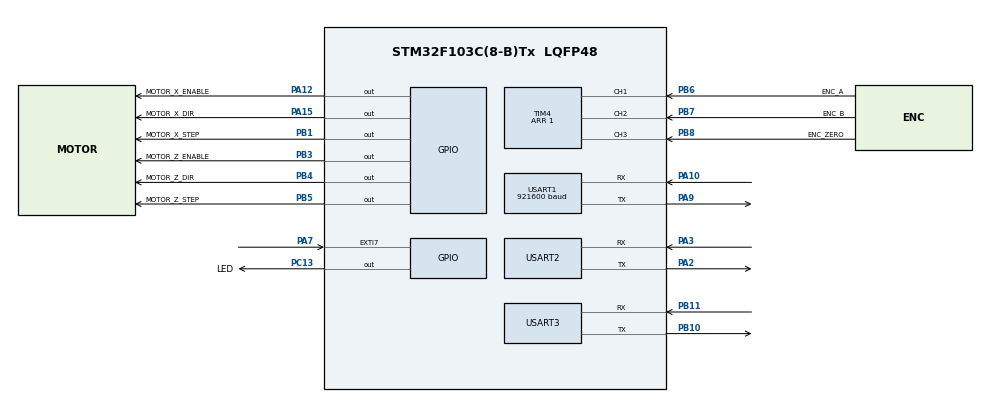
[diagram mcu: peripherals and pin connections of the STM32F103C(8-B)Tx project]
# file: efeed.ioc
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Dma.Request0=USART1_TX
Dma.USART1_TX.0.Direction=DMA_MEMORY_TO_PERIPH
Dma.USART1_TX.0.Instance=DMA1_Channel4
Dma.USART1_TX.0.MemDataAlignment=DMA_MDATAALIGN_BYTE
Dma.USART1_TX.0.MemInc=DMA_MINC_ENABLE
Dma.USART1_TX.0.Mode=DMA_NORMAL
Dma.USART1_TX.0.PeriphDataAlignment=DMA_PDATAALIGN_BYTE
Dma.USART1_TX.0.PeriphInc=DMA_PINC_DISABLE
Dma.USART1_TX.0.Priority=DMA_PRIORITY_LOW
IWDG.Prescaler=IWDG_PRESCALER_32
Mcu.Family=STM32F1
Mcu.Name=STM32F103C(8-B)Tx
Mcu.Package=LQFP48
Mcu.UserConstants=min_pulse,145*10
NVIC.DMA1_Channel4_IRQn=true\:0\:0\:false\:false\:true\:false\:true\:true
NVIC.EXTI9_5_IRQn=true\:0\:0\:false\:false\:true\:true\:true\:true
NVIC.PriorityGroup=NVIC_PRIORITYGROUP_2
NVIC.TIM1_CC_IRQn=true\:0\:0\:false\:false\:true\:true\:true\:true
NVIC.TIM1_UP_IRQn=true\:0\:0\:true\:false\:true\:true\:true\:true
NVIC.TIM2_IRQn=true\:1\:0\:true\:false\:true\:true\:true\:true
NVIC.TIM3_IRQn=true\:0\:0\:false\:false\:true\:true\:true\:true
NVIC.TIM4_IRQn=true\:0\:0\:false\:false\:true\:true\:true\:true
NVIC.USART1_IRQn=true\:0\:0\:false\:false\:true\:true\:true\:true
PA10.Mode=Asynchronous
PA10.Signal=USART1_RX
PA12.GPIO_Label=MOTOR_X_ENABLE
PA12.Signal=GPIO_Output
PA13.Mode=Serial_Wire
PA13.Signal=SYS_JTMS-SWDIO
PA14.Mode=Serial_Wire
PA14.Signal=SYS_JTCK-SWCLK
PA15.GPIO_Label=MOTOR_X_DIR
PA15.Signal=GPIO_Output
PA2.Mode=Asynchronous
PA2.Signal=USART2_TX
PA3.Mode=Asynchronous
PA3.Signal=USART2_RX
PA7.GPIO_PuPd=GPIO_PULLUP
PA7.Signal=GPXTI7
PA9.Mode=Asynchronous
PA9.Signal=USART1_TX
PB1.GPIO_Label=MOTOR_X_STEP
PB1.GPIO_PuPd=GPIO_PULLDOWN
PB1.Signal=GPIO_Output
PB10.Mode=Asynchronous
PB10.Signal=USART3_TX
PB11.Mode=Asynchronous
PB11.Signal=USART3_RX
PB3.GPIO_Label=MOTOR_Z_ENABLE
PB3.Signal=GPIO_Output
PB4.GPIO_Label=MOTOR_Z_DIR
PB4.Signal=GPIO_Output
PB5.GPIO_Label=MOTOR_Z_STEP
PB5.GPIO_PuPd=GPIO_PULLDOWN
PB5.Signal=GPIO_Output
PB6.GPIO_Label=ENC_A
PB6.GPIO_PuPd=GPIO_NOPULL
PB6.Signal=S_TIM4_CH1
PB7.GPIO_Label=ENC_B
PB7.GPIO_PuPd=GPIO_NOPULL
PB7.Signal=S_TIM4_CH2
PB8.GPIO_Label=ENC_ZERO
PB8.GPIO_PuPd=GPIO_NOPULL
PB8.Signal=S_TIM4_CH3
PC13-TAMPER-RTC.GPIO_Label=LED
PC13-TAMPER-RTC.Signal=GPIO_Output
PD0-OSC_IN.Mode=HSE-External-Oscillator
PD0-OSC_IN.Signal=RCC_OSC_IN
PD1-OSC_OUT.Mode=HSE-External-Oscillator
PD1-OSC_OUT.Signal=RCC_OSC_OUT
ProjectManager.HeapSize=0x200
ProjectManager.StackSize=0x400
ProjectManager.TargetToolchain=MDK-ARM V5
RCC.AHBFreq_Value=72000000
RCC.APB1CLKDivider=RCC_HCLK_DIV2
RCC.APB1Freq_Value=36000000
RCC.APB1TimFreq_Value=72000000
RCC.APB2Freq_Value=72000000
RCC.APB2TimFreq_Value=72000000
RCC.HCLKFreq_Value=72000000
RCC.PLLMUL=RCC_PLL_MUL9
RCC.PLLSourceVirtual=RCC_PLLSOURCE_HSE
RCC.SYSCLKFreq_VALUE=72000000
RCC.SYSCLKSource=RCC_SYSCLKSOURCE_PLLCLK
RCC.USBFreq_Value=48000000
RCC.USBPrescaler=RCC_USBCLKSOURCE_PLL_DIV1_5
SH.S_TIM4_CH1.0=TIM4_CH1,Encoder_Interface
SH.S_TIM4_CH2.0=TIM4_CH2,Encoder_Interface
SH.S_TIM4_CH3.0=TIM4_CH3,Input_Capture3_from_TI3
TIM1.Period=100
TIM1.Prescaler=0
TIM2.AutoReloadPreload=TIM_AUTORELOAD_PRELOAD_DISABLE
TIM2.Period=239
TIM2.Prescaler=0
TIM2.TIM_MasterOutputTrigger=TIM_TRGO_UPDATE
TIM2.TIM_MasterSlaveMode=TIM_MASTERSLAVEMODE_DISABLE
TIM3.AutoReloadPreload=TIM_AUTORELOAD_PRELOAD_DISABLE
TIM3.ClockDivision=TIM_CLOCKDIVISION_DIV1
TIM3.Period=100
TIM3.Prescaler=0
TIM4.Channel-Input_Capture3_from_TI3=TIM_CHANNEL_3
TIM4.CounterMode=TIM_COUNTERMODE_DOWN
TIM4.EncoderMode=TIM_ENCODERMODE_TI1
TIM4.IC1Filter=15
TIM4.IC1Polarity=TIM_ICPOLARITY_FALLING
TIM4.IC2Filter=15
TIM4.IC2Polarity=TIM_ICPOLARITY_RISING
TIM4.ICFilter_CH3=15
TIM4.ICPolarity_CH3=TIM_INPUTCHANNELPOLARITY_RISING
TIM4.Period=1
TIM4.TIM_MasterOutputTrigger=TIM_TRGO_UPDATE
TIM4.TIM_MasterSlaveMode=TIM_MASTERSLAVEMODE_ENABLE
USART1.BaudRate=921600
USART1.VirtualMode=VM_ASYNC
USART2.VirtualMode=VM_ASYNC
USART3.VirtualMode=VM_ASYNC
VP_CRC_VS_CRC.Mode=CRC_Activate
VP_IWDG_VS_IWDG.Mode=IWDG_Activate
VP_TIM1_VS_ClockSourceITR.Mode=TriggerSource_ITR1
VP_TIM1_VS_ControllerModeClock.Mode=Clock Mode
VP_TIM2_VS_ClockSourceINT.Mode=Internal
VP_TIM3_VS_ClockSourceITR.Mode=TriggerSource_ITR1
VP_TIM3_VS_ControllerModeClock.Mode=Clock Mode
board=efeed

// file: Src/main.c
/* USER CODE BEGIN Header */
/**
  ******************************************************************************
  * @file           : main.c
  * @brief          : Main program body
  ******************************************************************************
  ** This notice applies to any and all portions of this file
  * that are not between comment pairs USER CODE BEGIN and
  * USER CODE END. Other portions of this file, whether
  * inserted by the user or by software development tools
  * are owned by their respective copyright owners.
  *
  * COPYRIGHT(c) 2019 STMicroelectronics
  *
  * Redistribution and use in source and binary forms, with or without modification,
  * are permitted provided that the following conditions are met:
  *   1. Redistributions of source code must retain the above copyright notice,
  *      this list of conditions and the following disclaimer.
  *   2. Redistributions in binary form must reproduce the above copyright notice,
  *      this list of conditions and the following disclaimer in the documentation
  *      and/or other materials provided with the distribution.
  *   3. Neither the name of STMicroelectronics nor the names of its contributors
  *      may be used to endorse or promote products derived from this software
  *      without specific prior written permission.
  *
  * THIS SOFTWARE IS PROVIDED BY THE COPYRIGHT HOLDERS AND CONTRIBUTORS "AS IS"
  * AND ANY EXPRESS OR IMPLIED WARRANTIES, INCLUDING, BUT NOT LIMITED TO, THE
  * IMPLIED WARRANTIES OF MERCHANTABILITY AND FITNESS FOR A PARTICULAR PURPOSE ARE
  * DISCLAIMED. IN NO EVENT SHALL THE COPYRIGHT HOLDER OR CONTRIBUTORS BE LIABLE
  * FOR ANY DIRECT, INDIRECT, INCIDENTAL, SPECIAL, EXEMPLARY, OR CONSEQUENTIAL
  * DAMAGES (INCLUDING, BUT NOT LIMITED TO, PROCUREMENT OF SUBSTITUTE GOODS OR
  * SERVICES; LOSS OF USE, DATA, OR PROFITS; OR BUSINESS INTERRUPTION) HOWEVER
  * CAUSED AND ON ANY THEORY OF LIABILITY, WHETHER IN CONTRACT, STRICT LIABILITY,
  * OR TORT (INCLUDING NEGLIGENCE OR OTHERWISE) ARISING IN ANY WAY OUT OF THE USE
  * OF THIS SOFTWARE, EVEN IF ADVISED OF THE POSSIBILITY OF SUCH DAMAGE.
  *
  ******************************************************************************
  */
/* USER CODE END Header */
#include "main.h"

/* USER CODE BEGIN Includes */

#include "stm32f1xx_it.h"

#include "gcode.h"
#include "nuts_bolts.h"
#include "..\buildno.txt"

//#define ARM_MATH_CM3
//#include "arm_math.h"
/* USER CODE END Includes */

/* USER CODE BEGIN PV */

state_t state_hw;
state_t state_precalc;

#define jogQueue_size 50
circular_buffer jogQueue_cb;
char jogQueue[jogQueue_size];

	int debug_cmd = 0, debugnext = 0;

__IO uint8_t ubI2C_slave_addr = 0;
__IO uint8_t ubMasterRequestDirection  = 0;
char cmd1 = 0;
char cmd2 = 0;

//int count;
extern bool demo;
/*
G18 - XZ-plane
G98 - retract to the position that axis was in just before this series of one or more contiguous canned cycles was started
G50 set spindle speed
G28, G28.1 Go to Predefined Position
G54-G59.3 Select Coordinate System
G96, G97 Spindle Control Mode, G97 (RPM Mode)
*/

// ***** Stepper Motor *****

#define uartBuffer_size 400
circular_buffer uart_cb;
ubuf_t uartBuffer[uartBuffer_size];

__IO uint32_t rised = 0;
#define RX_BUFFER_SIZE   32
uint8_t aRXBufferA[RX_BUFFER_SIZE];
__IO uint8_t	uwNbReceivedChars;
__IO uint8_t	uNbReceivedCharsForUser;

__IO uint8_t initSync = 0;
uint8_t *pBufferReadyForReception;
__IO uint8_t ubUART3ReceptionComplete = 0;

__IO uint8_t ubLIMITleftZ = 0;

uint8_t ubNbDataToTransmit = 5; //sizeof(aTxBuffer);
__IO uint8_t ubTransmissionComplete = 0;
__IO uint8_t  ubMasterXferDirection     = 0;
uint8_t       aMasterReceiveBuffer[0xF] = {0};
__IO uint8_t  ubMasterNbDataToReceive   = sizeof(aMasterReceiveBuffer);

extern __IO bool xPulse;
extern __IO bool zPulse;

/* USER CODE END PV */

void SystemClock_Config(void);
static void MX_GPIO_Init(void);
static void MX_DMA_Init(void);
static void MX_TIM1_Init(void);
static void MX_TIM2_Init(void);
static void MX_TIM3_Init(void);
static void MX_TIM4_Init(void);
static void MX_CRC_Init(void);
static void MX_IWDG_Init(void);
static void MX_USART1_UART_Init(void);
static void MX_USART2_UART_Init(void);
static void MX_USART3_UART_Init(void);
/* USER CODE BEGIN PFP */

#ifndef _USEENCODER
void spindle_emulator(void);
#endif

void jog_pulse(int);
/* USER CODE END PFP */

/* USER CODE BEGIN 0 */

#define rampdown 10

bool dbg_ssh = false;

int dbg_ste = 0;
int dbg_gskip = 0;
int dbg_ss_cnt = 0;
void trim_substep_short(){
	// 1. check if there is any active task is running:
	if(state_hw.current_task_ref) {
		if(state_hw.current_task_ref->steps_to_endZ > rampdown){
			state_hw.current_task_ref->steps_to_endZ = rampdown;
		}
		if(state_hw.current_task_ref->steps_to_endX > rampdown){
			state_hw.current_task_ref->steps_to_endX = rampdown;
		}
		// reset task cb:
		cb_reset(&task_cb);
	}
}

//	cb_init_ref(&uart_cb, 10, sizeof(ubuf_t), &ut);
__STATIC_INLINE
ubuf_t * add_empty_uart(){
	cb_push_back_empty(&uart_cb);
	return uart_cb.top;
}

/**
  * @brief  Function called from USART IRQ Handler when RXNE flag is set
  *         Function is in charge of reading character received on USART RX line.
  * @param  None
  * @retval None
  */
void USART_CharReception_Callback(void)
{
  /* Read Received character. RXNE flag is cleared by reading of DR register */
	uint8_t symbol = LL_USART_ReceiveData8(USART1);
	if(symbol == '\n'){
		if(uart_cb.count<uart_cb.capacity-2) {
			aRXBufferA[uwNbReceivedChars] = 0;
			if(uwNbReceivedChars == 2 && (aRXBufferA[1] == 'w' || aRXBufferA[1] == 's') ){
				if(jogQueue_cb.capacity-2 > jogQueue_cb.count) {
					cb_push_back_unclean(&jogQueue_cb);
					char *cp = jogQueue_cb.top;
					*cp = aRXBufferA[1];
				}
			} else {
				cb_push_back_unclean(&uart_cb);
				memcpy(uart_cb.top,&aRXBufferA,uwNbReceivedChars+1);
			}
		}
    uwNbReceivedChars = 0;
	} else {
		if(symbol != 0)
			pBufferReadyForReception[uwNbReceivedChars++] = symbol;
		if(uwNbReceivedChars == RX_BUFFER_SIZE-1){
			Error_Handler2(1);
		}
	}
}

/* USER CODE END 0 */

int main(void)
{
  /* USER CODE BEGIN 1 */
//state_hw.global_Z_pos = -1;
//	ui64toa(state_hw.global_Z_pos, &str1[0]);//generte number with base 64
//	ui16toa(&state_hw.global_Z_pos,&str1[0],4);
//	strcat(str1, "test");
//	info[11] = ';';
//	aa = sizeof(G_task_t);
//	ui16toa2(&state_hw.flags, (uint8_t *)&state_hw.uart_header[3],1);

	#define LOOP_FROM 1
//#define LOOP_COUNT 2
//	#define LOOP_COUNT 4 //509//289 //158
//!!!! 	_USEENCODER define  moved to gcode.h

	#ifdef _USEENCODER
	int preload = 2;//LOOP_COUNT;
	#else
	int preload = 4;//LOOP_COUNT;
	#endif

const char * ga1[] = {
	#ifdef _USEENCODER
	"G91",
	"G94",
//	"G33 Z-10 K4.5 M3",
	"G0 X0. Z0.",
	"G0 X0. Z0.1",
	"G0 X0. Z0.1",
	"G0 X0. Z0.1",
	"G0 X0. Z0.1",
	"G1 X10 Z100 F100",
	"G94",
	"G1 Z-600 F600", //F900",
	"G0 Z200",

//	"G1 Z-2 F0.05",
	#else
	"G91",
	"G95",
//	"G76 P0.05 Z-1 I-.075 J0.008 K0.045 Q29.5 L2 E0.045",
//	"G76 P2. Z-50. I-8.209 J0.25 K2. R2. Q29.5 H0. E1. L0",

	"G0 X0. Z0.",
//	"G1 Z200 F0.1",
//	"G0 X10. Z0.",
//	"G1 X1 Z-20 F600",
	"G1 Z-200 F0.5",
	"G0 X0. Z0.",
	"G1 X10. Z-10 F600",
	"G0 X0. Z0.",
	"G1 Z-10 F600",
	"G0 X0. Z0.",
	"G1 Z-10 F600",

	"G1 Z3",
	"G1 Z-4",
	"G1 Z5",
	"G1 Z0",
	#endif
	"G1 Z2.1 F100",
	"G1 Z0 F100",
	"G0 Z0.",

	"G0 X10. Z0.",
	"G0 X9.498",
	"G33 Z-0.665 K2",
	"X10. Z-1.02 K2",
};

  /* USER CODE END 1 */

  /* MCU Configuration--------------------------------------------------------*/

  /* Reset of all peripherals, Initializes the Flash interface and the Systick. */
  LL_APB2_GRP1_EnableClock(LL_APB2_GRP1_PERIPH_AFIO);
  LL_APB1_GRP1_EnableClock(LL_APB1_GRP1_PERIPH_PWR);

  /* System interrupt init*/
  NVIC_SetPriorityGrouping(NVIC_PRIORITYGROUP_2);

  /** NOJTAG: JTAG-DP Disabled and SW-DP Enabled
  */
  LL_GPIO_AF_Remap_SWJ_NOJTAG();

  /* USER CODE BEGIN Init */
	memset(&state_hw,0,sizeof(state_hw));

	state_hw.retract = 100;

  state_hw.uart_header[0] = HEADER_0;
	state_hw.uart_header[1] =state_hw.uart_header[2] =state_hw.uart_header[3] = HEADER_1;
	state_hw.uart_end[0] = '#';
	state_hw.uart_end[1] = '#';
	state_hw.uart_end[2] = '\r';
	state_hw.uart_end[3] = '\n';
	char info[14];
//	memcpy(info,"1.80;",5);
//	state_hw.global_Z_pos = (2<<23) - 1;
	LL_DBGMCU_APB1_GRP1_FreezePeriph(LL_DBGMCU_APB1_GRP1_IWDG_STOP);
//ui64toa(state_hw.global_Z_pos,&info[0]);

	cb_init_ref(&jogQueue_cb, jogQueue_size, sizeof(char), &jogQueue);
	cb_init_ref(&uart_cb, uartBuffer_size, sizeof(char), &uartBuffer);

	cb_init_ref(&task_cb, task_size, sizeof(G_task_t), &gt);
//	cb_init_ref(&task_precalc_cb, task_precalc_size, sizeof(G_task_t), &gt_precalc);
//	cb_init_ref(&gp_cb, gp_size, sizeof(G_pipeline_t),&gp);
//	cb_init_ref(&substep_cb, substep_size, sizeof(substep_t),&substep_delay);
//	cb_init_ref(&substep_job_cb, substep_job_size, sizeof(substep_job_t),&substep_delay);

// g03
//	cb_init_ref(&sma_cb,  8, sizeof(substep_sma_ref_t), &smaNumbers);
	//cb_init_ref(&sma_substep_cb,  8, sizeof(uint32_t), &smaSubstepRefs);

// init USART
  pBufferReadyForReception = aRXBufferA;
  uwNbReceivedChars = 0;
  ubUART3ReceptionComplete = 0;

  /* USER CODE END Init */

  /* Configure the system clock */
  SystemClock_Config();

  /* USER CODE BEGIN SysInit */
	LL_SYSTICK_EnableIT();
  /* USER CODE END SysInit */

  /* Initialize all configured peripherals */
  MX_GPIO_Init();
  MX_DMA_Init();
  MX_TIM1_Init();
  MX_TIM2_Init();
  MX_TIM3_Init();
  MX_TIM4_Init();
  MX_CRC_Init();
  MX_IWDG_Init();
  MX_USART1_UART_Init();
  MX_USART2_UART_Init();
  MX_USART3_UART_Init();
  /* USER CODE BEGIN 2 */

	LL_TIM_CC_DisablePreload(TIM3);
	LL_TIM_OC_DisablePreload(TIM3, LL_TIM_CHANNEL_CH2);

	LL_TIM_EnableIT_CC1(TIM3);
//	LL_TIM_SetOnePulseMode(TIM1,LL_TIM_ONEPULSEMODE_SINGLE);

	LL_TIM_CC_EnableChannel(TIM3,LL_TIM_CHANNEL_CH2);

  /* Clear Overrun flag, in case characters have already been sent to USART */
  LL_USART_ClearFlag_ORE(USART1);

/* Enable RXNE and Error interrupts */
  LL_USART_EnableIT_RXNE(USART1);
  LL_USART_EnableIT_ERROR(USART1);
	LL_USART_ClearFlag_TC(USART1);

/* Enable DMA TX Interrupt */
  LL_USART_EnableDMAReq_TX(USART1);

	G95(&state_hw);
	switch_to_sync(&state_hw); //  set sync mode as default

// todo need refactor this code how to g-code parsing, precalculation and execution going to start and work together
	G_task_t record_task = {0};
	int32_t record_X = 0, record_Z = 0;
//	G_task_t *precalculating_task = 0;
	int command = 0;
	bool move_to_saved_pos = false;

// some init hardware state
//	state_hw.substep_pin = (unsigned int *)((PERIPH_BB_BASE + ((uint32_t)&(MOTOR_X_STEP_GPIO_Port->ODR) -PERIPH_BASE)*32 + (MOTOR_X_STEP_Pin_num*4)));
//	state_hw.substep_pulse_on = 1;
//	state_hw.substep_pulse_off = 0;
//	state_hw.substep_axis = SUBSTEP_AXIS_X;

//	state_hw.uart_header
	uint32_t bn = Build_No;
	sendDefaultResponseDMA(RESET_code,&bn);
	LL_mDelay(1);

//	sendDefaultResponseDMA('Z',&state_hw.global_Z_pos);
//	sendResponse((uint32_t)&state_hw,SYNC_BYTES);

//	sendResponse((uint32_t)aTxtest,SYNC_BYTES);
	// debug serial ping-pong
	LED_OFF();
//	for(int a = 0;a<24;a++){
//		state_hw.mid[a]='A'+a;
//	}

	sendDefaultResponseXZ(); //							sendDefaultResponseDMA('X',&state_hw.global_X_pos);
	bool skipPop = false;
	LED_OFF();
	while (1) {
		// recalc substep delays
		if(state_precalc.current_task_ref){
			// get pointer to last processed task
			if(state_precalc.current_task_ref->precalculate_callback_ref) {
				state_precalc.current_task_ref->precalculate_callback_ref(&state_precalc);
			}
		} else {
			if(state_precalc.current_task_ref == 0 && task_cb.count2 > 0){
				state_precalc.current_task_ref = cb_pop_front_ref2(&task_cb); // get ref to task to start precalculating process
				if(state_precalc.current_task_ref) {
					// init precalc:
					if(state_precalc.current_task_ref->precalculate_init_callback_ref){
						state_precalc.current_task_ref->precalculate_init_callback_ref(&state_precalc);
						if(state_precalc.current_task_ref->precalculate_callback_ref)
								state_precalc.current_task_ref->precalculate_callback_ref(&state_precalc);
						if(state_precalc.current_task_ref->flags.unlocked  == true) // precalc finished, load next task to precalc
							state_precalc.current_task_ref = 0;
					} else {
						state_precalc.current_task_ref = 0;
					}
				}
			} else
			if (state_precalc.current_task_ref ){ // buffer overflow, unlock task to process precalculated data
					state_precalc.current_task_ref->flags.unlocked = true;
			}
		}

    /* USER CODE END WHILE */

    /* USER CODE BEGIN 3 */
//		__WFI();
		load_next_task(&state_hw);
		LL_IWDG_ReloadCounter(IWDG);
		if(initSync == 1){
			initSync = 0;
			sendDefaultResponseXZ(); //					sendDefaultResponseDMA('Z',&state_hw.global_Z_pos);
		}
//		ubUART3ReceptionComplete = 1;
//		memcpy(aRXBuffer,"!test",4);

		// simple processing of A7 button trigger event from EXTI:
		if(ubLIMITleftZ == 1) {
			ubLIMITleftZ = 0;
			while(state_hw.rised!=0);
			trim_substep_short();
//			EOM(); //					sendDefaultResponseDMA('Z',&state_hw.global_Z_pos);
		}
//process commands received by uart that should be executed in parallel with G-commands(jog x)
		if(jogQueue_cb.count > 0){
		  char *next_jogcmd = cb_get_front_ref(&jogQueue_cb);
//			char cmd  = ((char * )next_jogcmd);
			switch(*next_jogcmd){
#define jogwindow 5
					case 'w': {// go forward by 1 step '!w'
						if(state_hw.current_task_ref == 0 || state_hw.current_task_ref->dx ==0){
							if(XDIR != xdir_forward){
								XDIR = xdir_forward;
								delay3us();
							}
							state_hw.global_X_pos--;
							record_X--;

							LL_GPIO_SetOutputPin(MOTOR_X_STEP_GPIO_Port,MOTOR_X_STEP_Pin);
							delay3us();
							LL_GPIO_ResetOutputPin(MOTOR_X_STEP_GPIO_Port,MOTOR_X_STEP_Pin);
							sendDefaultResponseXZ();
						} else {
							if(xPulse)
								break;
//							while(xPulse != false){
//								__NOP();
//							}

							uint32_t x_axis = fixedpt_toint(state_hw.x1616set) - 1; // x delay
							// arr = 300 is 600mm/min async
							volatile uint32_t waitw = 0;
							if(x_axis >700){
								x_axis = x_axis / 2;
								while(1){
									volatile uint32_t t1cnt = LL_TIM_GetCounter(TIM1);
									if(t1cnt > (x_axis - jogwindow) && t1cnt < ((x_axis + jogwindow))){
										break;
									}
									waitw++;
								}
//								while(LL_TIM_GetCounter(TIM1)< (x_axis - jogwindow) || LL_TIM_GetCounter(TIM1) > (x_axis+jogwindow)){
//									__NOP();
//								}

								bool restore_dir = false;
								if(XDIR != xdir_forward){
									restore_dir = true;
									XDIR = xdir_forward;
									delay3us();
								}

								state_hw.global_X_pos--;
								record_X--;
								LL_GPIO_SetOutputPin(MOTOR_X_STEP_GPIO_Port,MOTOR_X_STEP_Pin);
								delay3us();
								LL_GPIO_ResetOutputPin(MOTOR_X_STEP_GPIO_Port,MOTOR_X_STEP_Pin);
								if(restore_dir) {
									delay3us();
									XDIR = xdir_backward;
//									delay3us();
								}
							}
						}
						break;
					}

					case 's': {// go backward by 1 step '!s'
						if(state_hw.current_task_ref == 0 || state_hw.current_task_ref->dx ==0){
							if(XDIR != xdir_backward){
								XDIR = xdir_backward;
								delay3us();
							}
							state_hw.global_X_pos++;
							record_X++;
							LL_GPIO_SetOutputPin(MOTOR_X_STEP_GPIO_Port,MOTOR_X_STEP_Pin);
							delay3us();
							LL_GPIO_ResetOutputPin(MOTOR_X_STEP_GPIO_Port,MOTOR_X_STEP_Pin);
							sendDefaultResponseXZ(); //							sendDefaultResponseDMA('X',&state_hw.global_X_pos);
						} else {
//							while(xPulse != false){ // wait until pulse by timer interrupt finished
//								__NOP();
//							}
/* 1. check current movement speed(by delay between pulses). if speed is to high to insert jog pulse between them - jog step not possible.
if movement speed allow to insert jog step then start to alanyse it
2. simple way is to place jog pulse in the middle between axis main pulses
(min delay * 2 equal max speed/2  )
3. todo
what to do if main delay is too big(slow movement)? few jog pulses can be placed there
neet to check acceleration
bug when jogs too fast multiple pulses is appear in middle. need some flag for it? need to move jog pulses to another circular buffer?
*/
							uint32_t x_axis = fixedpt_toint(state_hw.x1616set) - 1; // x delay
							// arr = 300 is 600mm/min async
							if(x_axis >700){
								x_axis =  x_axis / 2;
								while(1){
									volatile uint32_t t1cnt = LL_TIM_GetCounter(TIM1);
									if(t1cnt > (x_axis - jogwindow) && t1cnt < ((x_axis + jogwindow))){
										break;
									}
//									waitw++;
								}

								bool restore_dir = false;
								if(XDIR != xdir_backward){
									restore_dir = true;
									XDIR = xdir_backward;
									delay3us();
								}

								state_hw.global_X_pos++;
								record_X++;
								LL_GPIO_SetOutputPin(MOTOR_X_STEP_GPIO_Port,MOTOR_X_STEP_Pin);
								delay3us();
								LL_GPIO_ResetOutputPin(MOTOR_X_STEP_GPIO_Port,MOTOR_X_STEP_Pin);
								if(restore_dir) {
									delay3us();
									XDIR = xdir_forward;
//									delay3us();
								}
							}
						}
						break;
					}
			}
			cb_pop_front_ref(&jogQueue_cb);
		}

		// process uart buffer(except jog x):
		if( (uart_cb.count > 0 && task_cb.count < task_cb.capacity-2) ){
		  ubuf_t *next_uartcmd = cb_get_front_ref(&uart_cb);
//			uint8_t cmd;
//			cmd  = ((uint8_t * )next_uartcmd)[0];
			cmd1 = ((uint8_t * )next_uartcmd)[1];
			cmd2 = ((uint8_t * )next_uartcmd)[2];
			ubUART3ReceptionComplete = 0;

			if(((uint8_t * )next_uartcmd)[0] == '!'){
				switch(cmd1){
					case '=':
						switch(cmd2){
							case 'X':
							  state_hw.global_X_pos = ahextoui32(&((uint8_t * )next_uartcmd)[3]);
							break;
							case 'Y':
							  state_hw.global_Z_pos = ahextoui32(&((uint8_t * )next_uartcmd)[3]);
							break;
						}
						break;
					case '1':
//						if( abs(state_hw.global_X_pos - record_X) > abs(state_hw.retract) || abs(state_hw.global_Z_pos - record_Z) > abs(state_hw.retract) ){
							if(state_hw.flags.G90G91 == G90mode){
								scheduleG00G01move3(	fixedpt_fromint2210(state_hw.initial_task_X_pos), fixedpt_fromint2210(state_hw.initial_task_Z_pos), 0,0, G00code);
							} else {
								scheduleG00G01move3(	fixedptu_fromint2210(record_X) - init_gp.X, fixedptu_fromint2210(record_Z) - init_gp.Z, 0, 0, G00code);
							}
//							move_to_saved_pos = true;
//						}
						break;
					case '2': // save last comand  '!2'
						while(state_hw.rised!=0);
						LED_ON();
//						move_to_saved_pos = false;
						// break current task, set new task length as steps_to_end-dz and save this task as new record to repeat in cycle
//						__disable_irq();
						memcpy(&record_task, state_hw.last_loaded_task_ref, task_cb.sz);

						record_task.callback_refZ = dz_callback;
						record_task.callback_refX = dx_callback;
//						if(dbg_ssh)
							trim_substep_short();
//						else
//							trim_substep();
						// due to predict where machine will end its movement currently work not good do next trick:
						//wait until active task is finished to update init_gp position with actual global_Z(X)_pos:
						while(state_hw.current_task_ref != 0){
						}

						record_X = state_hw.initial_task_X_pos;
						record_Z = state_hw.initial_task_Z_pos;

						int local_Z = fixedpt_toint2210(init_gp.Z);
						int local_X = fixedpt_toint2210(init_gp.X);

						int back_dz = record_Z - local_Z;
						int back_dx = record_X - local_X;
						record_task.dz = abs(back_dz);
						record_task.dx = abs(back_dx);
						record_task.steps_to_endX = record_task.dx;
						record_task.steps_to_endZ = record_task.dz;
//						record_task.F = state_hw.Q824set; // get from hw if it feed was changed on the fly

					// move back:
					// 1. move back 400 steps from blank(or move forward if ID)
						scheduleG00G01move3(fixedpt_fromint2210(state_hw.retract), 0, 0,0, G00code);
					// repeat same movement in back direction
						scheduleG00G01move3(fixedpt_fromint2210(back_dx), fixedpt_fromint2210(back_dz), 0,0, G00code);
          // move forward 400 steps to blank
						scheduleG00G01move3(-fixedpt_fromint2210(state_hw.retract), 0, 0,0, G00code);
//						EOM();
//						sendResponse((uint32_t)"ok\r\n",4);
						break;
					case '3': //repeat last command '!3'
						{
							cb_push_back_item(&task_cb,&record_task);
							init_gp.Z += record_task.flags.z_direction == zdir_backward ? -fixedpt_fromint2210(record_task.dz) : fixedpt_fromint2210(record_task.dz);
							init_gp.X += record_task.flags.x_direction == zdir_backward ? fixedpt_fromint2210(record_task.dx) : -fixedpt_fromint2210(record_task.dx);

							int back_dz = record_task.flags.z_direction ==zdir_forward ? -record_task.dz : record_task.dz;
							int back_dx = record_task.flags.x_direction ==xdir_forward ? record_task.dx : -record_task.dx;

							scheduleG00G01move3(fixedpt_fromint2210(state_hw.retract), 0, 0, 0,G00code);
							scheduleG00G01move3(fixedpt_fromint2210(back_dx), fixedpt_fromint2210(back_dz), 0,0, G00code);
							scheduleG00G01move3(-fixedpt_fromint2210(state_hw.retract), 0, 0,0, G00code);
						}
						break;
					case 'R': // infinite loop to reset by WD
						LL_mDelay(10000);
						break;
					case 'X': // stop current move '!X'
					case 'S': // stop current move  '!S'
						while(state_hw.rised!=0){
//							rised++;
						}
						trim_substep_short();
//						EOM();
//						sendResponse((uint32_t)"ok\r\n",4);
						break;
					case '0': { // reqest info{  '!0'
						char info[14];
//						memcpy(info,"2.10;",5); //version
						memset(info,32,5); //fill version block with spaces
						ui10toa(Build_No, (uint8_t *)&info); //copy dynamic build nubmer to info field

						ui64toa(state_hw.global_Z_pos,(uint8_t *)&info[5]);
						info[11] = ';';
						info[12] = '\r';
						info[13] = '\n';

						sendResponse((uint32_t)info, 14);
						break;
					}

					case 'v':{ // vector of carriage move, 1st argument is direction, 24 values by 15 gegree number packet to single byte, second argument is 1 byte relative speed
						uint8_t direction = *next_uartcmd[2] - '0' > 9 ? *next_uartcmd[2] - 'A' + 10 : *next_uartcmd[2] - '0';
						uint8_t speed = *next_uartcmd[3] - '0';
						if(speed>0)
							state_hw.vector = 1;
						break;
					}

					case 'B': {// left correction small(Back) '!B' todo refactor
						//switch to manual pulse generation
						uint32_t pin_dir = LL_GPIO_IsOutputPinSet(MOTOR_Z_DIR_GPIO_Port,MOTOR_Z_DIR_Pin);
						if(pin_dir != zdir_backward){ // change DIR
							LL_GPIO_TogglePin(MOTOR_Z_DIR_GPIO_Port,MOTOR_Z_DIR_Pin);
							delay3us();
						}
						LL_GPIO_SetPinMode(MOTOR_Z_STEP_GPIO_Port,MOTOR_Z_STEP_Pin,LL_GPIO_MODE_OUTPUT);
						for(int a = 0;a<20;a++){
							LL_GPIO_SetOutputPin(MOTOR_Z_STEP_GPIO_Port,MOTOR_Z_STEP_Pin);
							delay3us();
							LL_GPIO_ResetOutputPin(MOTOR_Z_STEP_GPIO_Port,MOTOR_Z_STEP_Pin);
							LL_mDelay(5);
						}
						if(pin_dir != zdir_backward){ // change DIR back
							LL_GPIO_TogglePin(MOTOR_Z_DIR_GPIO_Port,MOTOR_Z_DIR_Pin);
						}
						LL_GPIO_SetPinMode(MOTOR_Z_STEP_GPIO_Port,MOTOR_Z_STEP_Pin,LL_GPIO_MODE_ALTERNATE);
						break;
					}
					case 'F': {// right correction small '!F' todo refactor
						//switch to manual pulse generation
						uint32_t pin_dir = LL_GPIO_IsOutputPinSet(MOTOR_Z_DIR_GPIO_Port,MOTOR_Z_DIR_Pin);
						if(pin_dir != zdir_forward){ // change DIR
							LL_GPIO_TogglePin(MOTOR_Z_DIR_GPIO_Port,MOTOR_Z_DIR_Pin);
							delay3us();
						}
						LL_GPIO_SetPinMode(MOTOR_Z_STEP_GPIO_Port,MOTOR_Z_STEP_Pin,LL_GPIO_MODE_OUTPUT);
						for(int a = 0; a<20; a++){
							LL_GPIO_SetOutputPin(MOTOR_Z_STEP_GPIO_Port,MOTOR_Z_STEP_Pin);
							delay3us();
							LL_GPIO_ResetOutputPin(MOTOR_Z_STEP_GPIO_Port,MOTOR_Z_STEP_Pin);
							LL_mDelay(5);
						}
						if(pin_dir != zdir_backward){ // change DIR back
							LL_GPIO_TogglePin(MOTOR_Z_DIR_GPIO_Port,MOTOR_Z_DIR_Pin);
						}
						LL_GPIO_SetPinMode(MOTOR_Z_STEP_GPIO_Port,MOTOR_Z_STEP_Pin,LL_GPIO_MODE_ALTERNATE);
						break;
					}
					case 'a': {// left small '!a'
						scheduleG00G01move3(0, -jog_Z_01_2210, 0,0, G00code);
						break;
					}
					case 'd': {// right small '!d'
						scheduleG00G01move3(0, jog_Z_01_2210, 0,0, G00code);
						break;
					}

					case 'g':{ //decrease feed speed on the fly, resolution 0.1mm (0.1*1000=100)
						int32_t ff = feed_on_the_fly_factor / state_hw.z1616set - 100;
						if(ff < 100) // limit min FOTF by 0.1mm/rev
							ff = 100;
						record_task.Fz = state_hw.z1616set = feed_on_the_fly_factor / ff;
						sendDefaultResponseDMA(FEED_code,&state_hw.z1616set);
						break;
					}
					case 't': { //increase feed speed on the fly
						// 1474560 = 65536*encoder_resolution*z_screw_pitch/z_steps_unit = 3600*0,00625*65536 and * 1000 to get integer math
						int32_t ff = feed_on_the_fly_factor / state_hw.z1616set + 100;
						if(ff > 3000) // limit max FOTF by 3mm/rev
							ff = 3000;
						record_task.Fz = state_hw.z1616set = feed_on_the_fly_factor / ff;
						sendDefaultResponseDMA(FEED_code,&state_hw.z1616set);
						break;
					}

					case 'I': // set ID
//						state_hw.ODID = 1;
						state_hw.flags.ODID = IDmode;
						state_hw.retract = -100;
						break;
					case 'O': // set OD
//						state_hw.ODID = 0;
						state_hw.flags.ODID = ODmode;
						state_hw.retract = 100;
						break;
				}
				//

			}  else { // if its not cmd started by
				command_parser(*next_uartcmd);
			}
//			if(!skipPop)
			cb_pop_front_ref(&uart_cb);
//		else
//				skipPop = false;
		}
		// process preload buffer:
		if(preload > 0) {
//			if(task_cb.count2 < (task_cb.capacity - 1)) {
				if(task_cb.count < (task_cb.capacity - 2) &&  preload-- >= 0){
//					if(!LL_USART_IsActiveFlag_TC(USART1))
					command_parser((char *)ga1[command++]);
				}
			}

	}
  /* USER CODE END 3 */
}

void SystemClock_Config(void)
{
  LL_FLASH_SetLatency(LL_FLASH_LATENCY_2);
  while(LL_FLASH_GetLatency()!= LL_FLASH_LATENCY_2)
  {
  }
  LL_RCC_HSE_Enable();

   /* Wait till HSE is ready */
  while(LL_RCC_HSE_IsReady() != 1)
  {

  }
  LL_RCC_LSI_Enable();

   /* Wait till LSI is ready */
  while(LL_RCC_LSI_IsReady() != 1)
  {

  }
  LL_RCC_PLL_ConfigDomain_SYS(LL_RCC_PLLSOURCE_HSE_DIV_1, LL_RCC_PLL_MUL_9);
  LL_RCC_PLL_Enable();

   /* Wait till PLL is ready */
  while(LL_RCC_PLL_IsReady() != 1)
  {

  }
  LL_RCC_SetAHBPrescaler(LL_RCC_SYSCLK_DIV_1);
  LL_RCC_SetAPB1Prescaler(LL_RCC_APB1_DIV_2);
  LL_RCC_SetAPB2Prescaler(LL_RCC_APB2_DIV_1);
  LL_RCC_SetSysClkSource(LL_RCC_SYS_CLKSOURCE_PLL);

   /* Wait till System clock is ready */
  while(LL_RCC_GetSysClkSource() != LL_RCC_SYS_CLKSOURCE_STATUS_PLL)
  {

  }
  LL_Init1msTick(72000000);
  LL_SetSystemCoreClock(72000000);
}

static void MX_CRC_Init(void)
{

  /* Peripheral clock enable */
  LL_AHB1_GRP1_EnableClock(LL_AHB1_GRP1_PERIPH_CRC);

}

static void MX_IWDG_Init(void)
{

  /* USER CODE BEGIN IWDG_Init 0 */
	#ifndef _USEENCODER

	return;
	#endif
	return;
  /* USER CODE END IWDG_Init 0 */

  LL_IWDG_Enable(IWDG);
  LL_IWDG_EnableWriteAccess(IWDG);
  LL_IWDG_SetPrescaler(IWDG, LL_IWDG_PRESCALER_32);
  LL_IWDG_SetReloadCounter(IWDG, 4095);
  while (LL_IWDG_IsReady(IWDG) != 1)
  {
  }

  LL_IWDG_ReloadCounter(IWDG);

}

static void MX_TIM1_Init(void)
{

  LL_TIM_InitTypeDef TIM_InitStruct = {0};

  /* Peripheral clock enable */
  LL_APB2_GRP1_EnableClock(LL_APB2_GRP1_PERIPH_TIM1);

  /* TIM1 interrupt Init */
  NVIC_SetPriority(TIM1_UP_IRQn, NVIC_EncodePriority(NVIC_GetPriorityGrouping(),0, 0));
  NVIC_EnableIRQ(TIM1_UP_IRQn);
  NVIC_SetPriority(TIM1_CC_IRQn, NVIC_EncodePriority(NVIC_GetPriorityGrouping(),0, 0));
  NVIC_EnableIRQ(TIM1_CC_IRQn);

  TIM_InitStruct.Prescaler = 0;
  TIM_InitStruct.CounterMode = LL_TIM_COUNTERMODE_UP;
  TIM_InitStruct.Autoreload = 100;
  TIM_InitStruct.ClockDivision = LL_TIM_CLOCKDIVISION_DIV1;
  TIM_InitStruct.RepetitionCounter = 0;
  LL_TIM_Init(TIM1, &TIM_InitStruct);
  LL_TIM_DisableARRPreload(TIM1);
  LL_TIM_SetTriggerInput(TIM1, LL_TIM_TS_ITR1);
  LL_TIM_SetClockSource(TIM1, LL_TIM_CLOCKSOURCE_EXT_MODE1);
  LL_TIM_DisableIT_TRIG(TIM1);
  LL_TIM_DisableDMAReq_TRIG(TIM1);
  LL_TIM_SetTriggerOutput(TIM1, LL_TIM_TRGO_RESET);
  LL_TIM_DisableMasterSlaveMode(TIM1);

}

static void MX_TIM2_Init(void)
{

  LL_TIM_InitTypeDef TIM_InitStruct = {0};

  /* Peripheral clock enable */
  LL_APB1_GRP1_EnableClock(LL_APB1_GRP1_PERIPH_TIM2);

  /* TIM2 interrupt Init */
  NVIC_SetPriority(TIM2_IRQn, NVIC_EncodePriority(NVIC_GetPriorityGrouping(),1, 0));
  NVIC_EnableIRQ(TIM2_IRQn);

  TIM_InitStruct.Prescaler = 0;
  TIM_InitStruct.CounterMode = LL_TIM_COUNTERMODE_UP;
  TIM_InitStruct.Autoreload = 239;
  TIM_InitStruct.ClockDivision = LL_TIM_CLOCKDIVISION_DIV1;
  LL_TIM_Init(TIM2, &TIM_InitStruct);
  LL_TIM_DisableARRPreload(TIM2);
  LL_TIM_SetClockSource(TIM2, LL_TIM_CLOCKSOURCE_INTERNAL);
  LL_TIM_SetTriggerOutput(TIM2, LL_TIM_TRGO_UPDATE);
  LL_TIM_DisableMasterSlaveMode(TIM2);

}

static void MX_TIM3_Init(void)
{

  LL_TIM_InitTypeDef TIM_InitStruct = {0};

  /* Peripheral clock enable */
  LL_APB1_GRP1_EnableClock(LL_APB1_GRP1_PERIPH_TIM3);

  /* TIM3 interrupt Init */
  NVIC_SetPriority(TIM3_IRQn, NVIC_EncodePriority(NVIC_GetPriorityGrouping(),0, 0));
  NVIC_EnableIRQ(TIM3_IRQn);

  /* USER CODE BEGIN TIM3_Init 1 */
  NVIC_SetPriority(TIM3_IRQn, NVIC_EncodePriority(NVIC_GetPriorityGrouping(),1, 0));
  NVIC_EnableIRQ(TIM3_IRQn);

  /* USER CODE END TIM3_Init 1 */
  TIM_InitStruct.Prescaler = 0;
  TIM_InitStruct.CounterMode = LL_TIM_COUNTERMODE_UP;
  TIM_InitStruct.Autoreload = 100;
  TIM_InitStruct.ClockDivision = LL_TIM_CLOCKDIVISION_DIV1;
  LL_TIM_Init(TIM3, &TIM_InitStruct);
  LL_TIM_DisableARRPreload(TIM3);
  LL_TIM_SetTriggerInput(TIM3, LL_TIM_TS_ITR1);
  LL_TIM_SetClockSource(TIM3, LL_TIM_CLOCKSOURCE_EXT_MODE1);
  LL_TIM_DisableIT_TRIG(TIM3);
  LL_TIM_DisableDMAReq_TRIG(TIM3);
  LL_TIM_SetTriggerOutput(TIM3, LL_TIM_TRGO_RESET);
  LL_TIM_DisableMasterSlaveMode(TIM3);
  /* USER CODE BEGIN TIM3_Init 2 */

//	LL_TIM_DisableIT_UPDATE(TIM3);
//	LL_TIM_GenerateEvent_UPDATE(TIM3);
//	LL_TIM_ClearFlag_UPDATE(TIM3);
//	LL_TIM_EnableIT_UPDATE(TIM3); // */

//	MOTOR_X_AllowPulse();
//	MOTOR_Z_AllowPulse();

//	LL_GPIO_SetOutputPin(MOTOR_Z_STEP_GPIO_Port,MOTOR_Z_STEP_Pin);

/*
// prevent to put TIM3 stepper chanels high on set corresponding CCER-CCxE bit.
// without this code channel is enabled on set CCER-CCxE ignoring shadow register, thats strange...
	LL_TIM_DisableIT_UPDATE(TIM3);
	LL_TIM_GenerateEvent_UPDATE(TIM3);
	LL_TIM_ClearFlag_UPDATE(TIM3);
	LL_TIM_EnableIT_UPDATE(TIM3); // */

//	TIM3->CCMR1 = 0x48;

  /* USER CODE END TIM3_Init 2 */

}

static void MX_TIM4_Init(void)
{

  /* USER CODE BEGIN TIM4_Init 0 */

	#ifndef _USEENCODER
	spindle_emulator();
	return;
#endif

  /* USER CODE END TIM4_Init 0 */

  LL_TIM_InitTypeDef TIM_InitStruct = {0};

  LL_GPIO_InitTypeDef GPIO_InitStruct = {0};

  /* Peripheral clock enable */
  LL_APB1_GRP1_EnableClock(LL_APB1_GRP1_PERIPH_TIM4);

  LL_APB2_GRP1_EnableClock(LL_APB2_GRP1_PERIPH_GPIOB);
  /**TIM4 GPIO Configuration
  PB6   ------> TIM4_CH1
  PB7   ------> TIM4_CH2
  PB8   ------> TIM4_CH3
  */
  GPIO_InitStruct.Pin = ENC_A_Pin|ENC_B_Pin|ENC_ZERO_Pin;
  GPIO_InitStruct.Mode = LL_GPIO_MODE_FLOATING;
  LL_GPIO_Init(GPIOB, &GPIO_InitStruct);

  /* TIM4 interrupt Init */
  NVIC_SetPriority(TIM4_IRQn, NVIC_EncodePriority(NVIC_GetPriorityGrouping(),0, 0));
  NVIC_EnableIRQ(TIM4_IRQn);

  TIM_InitStruct.Prescaler = 0;
  TIM_InitStruct.CounterMode = LL_TIM_COUNTERMODE_DOWN;
  TIM_InitStruct.Autoreload = 1;
  TIM_InitStruct.ClockDivision = LL_TIM_CLOCKDIVISION_DIV1;
  LL_TIM_Init(TIM4, &TIM_InitStruct);
  LL_TIM_DisableARRPreload(TIM4);
  LL_TIM_SetEncoderMode(TIM4, LL_TIM_ENCODERMODE_X4_TI12);
  LL_TIM_IC_SetActiveInput(TIM4, LL_TIM_CHANNEL_CH1, LL_TIM_ACTIVEINPUT_DIRECTTI);
  LL_TIM_IC_SetPrescaler(TIM4, LL_TIM_CHANNEL_CH1, LL_TIM_ICPSC_DIV1);
  LL_TIM_IC_SetFilter(TIM4, LL_TIM_CHANNEL_CH1, LL_TIM_IC_FILTER_FDIV32_N8);
  LL_TIM_IC_SetPolarity(TIM4, LL_TIM_CHANNEL_CH1, LL_TIM_IC_POLARITY_RISING);
  LL_TIM_IC_SetActiveInput(TIM4, LL_TIM_CHANNEL_CH2, LL_TIM_ACTIVEINPUT_DIRECTTI);
  LL_TIM_IC_SetPrescaler(TIM4, LL_TIM_CHANNEL_CH2, LL_TIM_ICPSC_DIV1);
  LL_TIM_IC_SetFilter(TIM4, LL_TIM_CHANNEL_CH2, LL_TIM_IC_FILTER_FDIV32_N8);
  LL_TIM_IC_SetPolarity(TIM4, LL_TIM_CHANNEL_CH2, LL_TIM_IC_POLARITY_RISING);
  LL_TIM_SetTriggerOutput(TIM4, LL_TIM_TRGO_UPDATE);
  LL_TIM_EnableMasterSlaveMode(TIM4);
  LL_TIM_IC_SetActiveInput(TIM4, LL_TIM_CHANNEL_CH3, LL_TIM_ACTIVEINPUT_DIRECTTI);
  LL_TIM_IC_SetPrescaler(TIM4, LL_TIM_CHANNEL_CH3, LL_TIM_ICPSC_DIV1);
  LL_TIM_IC_SetFilter(TIM4, LL_TIM_CHANNEL_CH3, LL_TIM_IC_FILTER_FDIV32_N8);
  LL_TIM_IC_SetPolarity(TIM4, LL_TIM_CHANNEL_CH3, LL_TIM_IC_POLARITY_RISING);

}

static void MX_USART1_UART_Init(void)
{

  LL_USART_InitTypeDef USART_InitStruct = {0};

  LL_GPIO_InitTypeDef GPIO_InitStruct = {0};

  /* Peripheral clock enable */
  LL_APB2_GRP1_EnableClock(LL_APB2_GRP1_PERIPH_USART1);

  LL_APB2_GRP1_EnableClock(LL_APB2_GRP1_PERIPH_GPIOA);
  /**USART1 GPIO Configuration
  PA9   ------> USART1_TX
  PA10   ------> USART1_RX
  */
  GPIO_InitStruct.Pin = LL_GPIO_PIN_9;
  GPIO_InitStruct.Mode = LL_GPIO_MODE_ALTERNATE;
  GPIO_InitStruct.Speed = LL_GPIO_SPEED_FREQ_HIGH;
  GPIO_InitStruct.OutputType = LL_GPIO_OUTPUT_PUSHPULL;
  LL_GPIO_Init(GPIOA, &GPIO_InitStruct);

  GPIO_InitStruct.Pin = LL_GPIO_PIN_10;
  GPIO_InitStruct.Mode = LL_GPIO_MODE_FLOATING;
  LL_GPIO_Init(GPIOA, &GPIO_InitStruct);

  /* USART1 DMA Init */

  /* USART1_TX Init */
  LL_DMA_SetDataTransferDirection(DMA1, LL_DMA_CHANNEL_4, LL_DMA_DIRECTION_MEMORY_TO_PERIPH);

  LL_DMA_SetChannelPriorityLevel(DMA1, LL_DMA_CHANNEL_4, LL_DMA_PRIORITY_LOW);

  LL_DMA_SetMode(DMA1, LL_DMA_CHANNEL_4, LL_DMA_MODE_NORMAL);

  LL_DMA_SetPeriphIncMode(DMA1, LL_DMA_CHANNEL_4, LL_DMA_PERIPH_NOINCREMENT);

  LL_DMA_SetMemoryIncMode(DMA1, LL_DMA_CHANNEL_4, LL_DMA_MEMORY_INCREMENT);

  LL_DMA_SetPeriphSize(DMA1, LL_DMA_CHANNEL_4, LL_DMA_PDATAALIGN_BYTE);

  LL_DMA_SetMemorySize(DMA1, LL_DMA_CHANNEL_4, LL_DMA_MDATAALIGN_BYTE);

  /* USART1 interrupt Init */
  NVIC_SetPriority(USART1_IRQn, NVIC_EncodePriority(NVIC_GetPriorityGrouping(),0, 0));
  NVIC_EnableIRQ(USART1_IRQn);

  USART_InitStruct.BaudRate = 921600;
  USART_InitStruct.DataWidth = LL_USART_DATAWIDTH_8B;
  USART_InitStruct.StopBits = LL_USART_STOPBITS_1;
  USART_InitStruct.Parity = LL_USART_PARITY_NONE;
  USART_InitStruct.TransferDirection = LL_USART_DIRECTION_TX_RX;
  USART_InitStruct.HardwareFlowControl = LL_USART_HWCONTROL_NONE;
  USART_InitStruct.OverSampling = LL_USART_OVERSAMPLING_16;
  LL_USART_Init(USART1, &USART_InitStruct);
  LL_USART_ConfigAsyncMode(USART1);
  LL_USART_Enable(USART1);

}

static void MX_USART2_UART_Init(void)
{

  LL_USART_InitTypeDef USART_InitStruct = {0};

  LL_GPIO_InitTypeDef GPIO_InitStruct = {0};

  /* Peripheral clock enable */
  LL_APB1_GRP1_EnableClock(LL_APB1_GRP1_PERIPH_USART2);

  LL_APB2_GRP1_EnableClock(LL_APB2_GRP1_PERIPH_GPIOA);
  /**USART2 GPIO Configuration
  PA2   ------> USART2_TX
  PA3   ------> USART2_RX
  */
  GPIO_InitStruct.Pin = LL_GPIO_PIN_2;
  GPIO_InitStruct.Mode = LL_GPIO_MODE_ALTERNATE;
  GPIO_InitStruct.Speed = LL_GPIO_SPEED_FREQ_HIGH;
  GPIO_InitStruct.OutputType = LL_GPIO_OUTPUT_PUSHPULL;
  LL_GPIO_Init(GPIOA, &GPIO_InitStruct);

  GPIO_InitStruct.Pin = LL_GPIO_PIN_3;
  GPIO_InitStruct.Mode = LL_GPIO_MODE_FLOATING;
  LL_GPIO_Init(GPIOA, &GPIO_InitStruct);

  USART_InitStruct.BaudRate = 115200;
  USART_InitStruct.DataWidth = LL_USART_DATAWIDTH_8B;
  USART_InitStruct.StopBits = LL_USART_STOPBITS_1;
  USART_InitStruct.Parity = LL_USART_PARITY_NONE;
  USART_InitStruct.TransferDirection = LL_USART_DIRECTION_TX_RX;
  USART_InitStruct.HardwareFlowControl = LL_USART_HWCONTROL_NONE;
  USART_InitStruct.OverSampling = LL_USART_OVERSAMPLING_16;
  LL_USART_Init(USART2, &USART_InitStruct);
  LL_USART_ConfigAsyncMode(USART2);
  LL_USART_Enable(USART2);

}

static void MX_USART3_UART_Init(void)
{

  LL_USART_InitTypeDef USART_InitStruct = {0};

  LL_GPIO_InitTypeDef GPIO_InitStruct = {0};

  /* Peripheral clock enable */
  LL_APB1_GRP1_EnableClock(LL_APB1_GRP1_PERIPH_USART3);

  LL_APB2_GRP1_EnableClock(LL_APB2_GRP1_PERIPH_GPIOB);
  /**USART3 GPIO Configuration
  PB10   ------> USART3_TX
  PB11   ------> USART3_RX
  */
  GPIO_InitStruct.Pin = LL_GPIO_PIN_10;
  GPIO_InitStruct.Mode = LL_GPIO_MODE_ALTERNATE;
  GPIO_InitStruct.Speed = LL_GPIO_SPEED_FREQ_HIGH;
  GPIO_InitStruct.OutputType = LL_GPIO_OUTPUT_PUSHPULL;
  LL_GPIO_Init(GPIOB, &GPIO_InitStruct);

  GPIO_InitStruct.Pin = LL_GPIO_PIN_11;
  GPIO_InitStruct.Mode = LL_GPIO_MODE_FLOATING;
  LL_GPIO_Init(GPIOB, &GPIO_InitStruct);

  USART_InitStruct.BaudRate = 115200;
  USART_InitStruct.DataWidth = LL_USART_DATAWIDTH_8B;
  USART_InitStruct.StopBits = LL_USART_STOPBITS_1;
  USART_InitStruct.Parity = LL_USART_PARITY_NONE;
  USART_InitStruct.TransferDirection = LL_USART_DIRECTION_TX_RX;
  USART_InitStruct.HardwareFlowControl = LL_USART_HWCONTROL_NONE;
  USART_InitStruct.OverSampling = LL_USART_OVERSAMPLING_16;
  LL_USART_Init(USART3, &USART_InitStruct);
  LL_USART_ConfigAsyncMode(USART3);
  LL_USART_Enable(USART3);

}

static void MX_DMA_Init(void)
{

  /* Init with LL driver */
  /* DMA controller clock enable */
  LL_AHB1_GRP1_EnableClock(LL_AHB1_GRP1_PERIPH_DMA1);

  /* DMA interrupt init */
  /* DMA1_Channel4_IRQn interrupt configuration */
  NVIC_SetPriority(DMA1_Channel4_IRQn, NVIC_EncodePriority(NVIC_GetPriorityGrouping(),0, 0));
  NVIC_EnableIRQ(DMA1_Channel4_IRQn);

}

static void MX_GPIO_Init(void)
{
  LL_EXTI_InitTypeDef EXTI_InitStruct = {0};
  LL_GPIO_InitTypeDef GPIO_InitStruct = {0};

  /* GPIO Ports Clock Enable */
  LL_APB2_GRP1_EnableClock(LL_APB2_GRP1_PERIPH_GPIOC);
  LL_APB2_GRP1_EnableClock(LL_APB2_GRP1_PERIPH_GPIOD);
  LL_APB2_GRP1_EnableClock(LL_APB2_GRP1_PERIPH_GPIOA);
  LL_APB2_GRP1_EnableClock(LL_APB2_GRP1_PERIPH_GPIOB);

  /**/
  LL_GPIO_ResetOutputPin(LED_GPIO_Port, LED_Pin);

  /**/
  LL_GPIO_ResetOutputPin(GPIOB, MOTOR_X_STEP_Pin|MOTOR_Z_ENABLE_Pin|MOTOR_Z_DIR_Pin|MOTOR_Z_STEP_Pin);

  /**/
  LL_GPIO_ResetOutputPin(GPIOA, MOTOR_X_ENABLE_Pin|MOTOR_X_DIR_Pin);

  /**/
  GPIO_InitStruct.Pin = LED_Pin;
  GPIO_InitStruct.Mode = LL_GPIO_MODE_OUTPUT;
  GPIO_InitStruct.Speed = LL_GPIO_SPEED_FREQ_LOW;
  GPIO_InitStruct.OutputType = LL_GPIO_OUTPUT_PUSHPULL;
  LL_GPIO_Init(LED_GPIO_Port, &GPIO_InitStruct);

  /**/
  GPIO_InitStruct.Pin = LL_GPIO_PIN_14|LL_GPIO_PIN_15;
  GPIO_InitStruct.Mode = LL_GPIO_MODE_ANALOG;
  LL_GPIO_Init(GPIOC, &GPIO_InitStruct);

  /**/
  GPIO_InitStruct.Pin = LL_GPIO_PIN_0|LL_GPIO_PIN_1|LL_GPIO_PIN_4|LL_GPIO_PIN_5
                          |LL_GPIO_PIN_6|LL_GPIO_PIN_8|LL_GPIO_PIN_11;
  GPIO_InitStruct.Mode = LL_GPIO_MODE_ANALOG;
  LL_GPIO_Init(GPIOA, &GPIO_InitStruct);

  /**/
  GPIO_InitStruct.Pin = LL_GPIO_PIN_0|LL_GPIO_PIN_2|LL_GPIO_PIN_12|LL_GPIO_PIN_13
                          |LL_GPIO_PIN_14|LL_GPIO_PIN_15|LL_GPIO_PIN_9;
  GPIO_InitStruct.Mode = LL_GPIO_MODE_ANALOG;
  LL_GPIO_Init(GPIOB, &GPIO_InitStruct);

  /**/
  GPIO_InitStruct.Pin = MOTOR_X_STEP_Pin|MOTOR_Z_STEP_Pin;
  GPIO_InitStruct.Mode = LL_GPIO_MODE_OUTPUT;
  GPIO_InitStruct.Speed = LL_GPIO_SPEED_FREQ_LOW;
  GPIO_InitStruct.OutputType = LL_GPIO_OUTPUT_PUSHPULL;
  GPIO_InitStruct.Pull = LL_GPIO_PULL_DOWN;
  LL_GPIO_Init(GPIOB, &GPIO_InitStruct);

  /**/
  GPIO_InitStruct.Pin = MOTOR_X_ENABLE_Pin|MOTOR_X_DIR_Pin;
  GPIO_InitStruct.Mode = LL_GPIO_MODE_OUTPUT;
  GPIO_InitStruct.Speed = LL_GPIO_SPEED_FREQ_LOW;
  GPIO_InitStruct.OutputType = LL_GPIO_OUTPUT_PUSHPULL;
  LL_GPIO_Init(GPIOA, &GPIO_InitStruct);

  /**/
  GPIO_InitStruct.Pin = MOTOR_Z_ENABLE_Pin|MOTOR_Z_DIR_Pin;
  GPIO_InitStruct.Mode = LL_GPIO_MODE_OUTPUT;
  GPIO_InitStruct.Speed = LL_GPIO_SPEED_FREQ_LOW;
  GPIO_InitStruct.OutputType = LL_GPIO_OUTPUT_PUSHPULL;
  LL_GPIO_Init(GPIOB, &GPIO_InitStruct);

  /**/
  LL_GPIO_AF_SetEXTISource(LL_GPIO_AF_EXTI_PORTA, LL_GPIO_AF_EXTI_LINE7);

  /**/
  EXTI_InitStruct.Line_0_31 = LL_EXTI_LINE_7;
  EXTI_InitStruct.LineCommand = ENABLE;
  EXTI_InitStruct.Mode = LL_EXTI_MODE_IT;
  EXTI_InitStruct.Trigger = LL_EXTI_TRIGGER_RISING;
  LL_EXTI_Init(&EXTI_InitStruct);

  /**/
  LL_GPIO_SetPinPull(GPIOA, LL_GPIO_PIN_7, LL_GPIO_PULL_UP);

  /**/
  LL_GPIO_SetPinMode(GPIOA, LL_GPIO_PIN_7, LL_GPIO_MODE_INPUT);

  /* EXTI interrupt init*/
  NVIC_SetPriority(EXTI9_5_IRQn, NVIC_EncodePriority(NVIC_GetPriorityGrouping(),0, 0));
  NVIC_EnableIRQ(EXTI9_5_IRQn);

}

/* USER CODE BEGIN 4 */

#ifndef _USEENCODER
void spindle_emulator(void){
  LL_TIM_InitTypeDef TIM_InitStruct = {0};
  LL_GPIO_InitTypeDef GPIO_InitStruct = {0};
  LL_TIM_OC_InitTypeDef TIM_OC_InitStruct = {0};

  /* Peripheral clock enable */
  LL_APB1_GRP1_EnableClock(LL_APB1_GRP1_PERIPH_TIM4);
  LL_APB2_GRP1_EnableClock(LL_APB2_GRP1_PERIPH_GPIOB);

  /* TIM4 interrupt Init */
  NVIC_SetPriority(TIM4_IRQn, NVIC_EncodePriority(NVIC_GetPriorityGrouping(),0, 0));
  NVIC_EnableIRQ(TIM4_IRQn);

  TIM_InitStruct.Prescaler = 0;
  TIM_InitStruct.CounterMode = LL_TIM_COUNTERMODE_UP;
  TIM_InitStruct.Autoreload = 999;
  TIM_InitStruct.ClockDivision = LL_TIM_CLOCKDIVISION_DIV1;
  LL_TIM_Init(TIM4, &TIM_InitStruct);
  LL_TIM_EnableARRPreload(TIM4);
  LL_TIM_SetClockSource(TIM4, LL_TIM_CLOCKSOURCE_INTERNAL);
  LL_TIM_OC_EnablePreload(TIM4, LL_TIM_CHANNEL_CH1);
  TIM_OC_InitStruct.OCMode = LL_TIM_OCMODE_PWM1;
  TIM_OC_InitStruct.OCState = LL_TIM_OCSTATE_DISABLE;
  TIM_OC_InitStruct.OCNState = LL_TIM_OCSTATE_DISABLE;
  TIM_OC_InitStruct.CompareValue = 48;
  TIM_OC_InitStruct.OCPolarity = LL_TIM_OCPOLARITY_LOW;
  LL_TIM_OC_Init(TIM4, LL_TIM_CHANNEL_CH1, &TIM_OC_InitStruct);
  LL_TIM_OC_DisableFast(TIM4, LL_TIM_CHANNEL_CH1);
  LL_TIM_SetTriggerOutput(TIM4, LL_TIM_TRGO_UPDATE);
  LL_TIM_EnableMasterSlaveMode(TIM4);
}
#endif

volatile  int codeg = 0;
volatile uint64_t eh = 0;
void Error_Handler2(int code)
{
	codeg = code;
	/* User can add his own implementation to report the HAL error return state */
	TIM1->CR1 = TIM2->CR1 = TIM3->CR1 = TIM4->CR1 = 0;
	while (1) {
	}
}
/* USER CODE END 4 */

void Error_Handler(void)
{
  __disable_irq();
  while (1)
  {
  }
}
